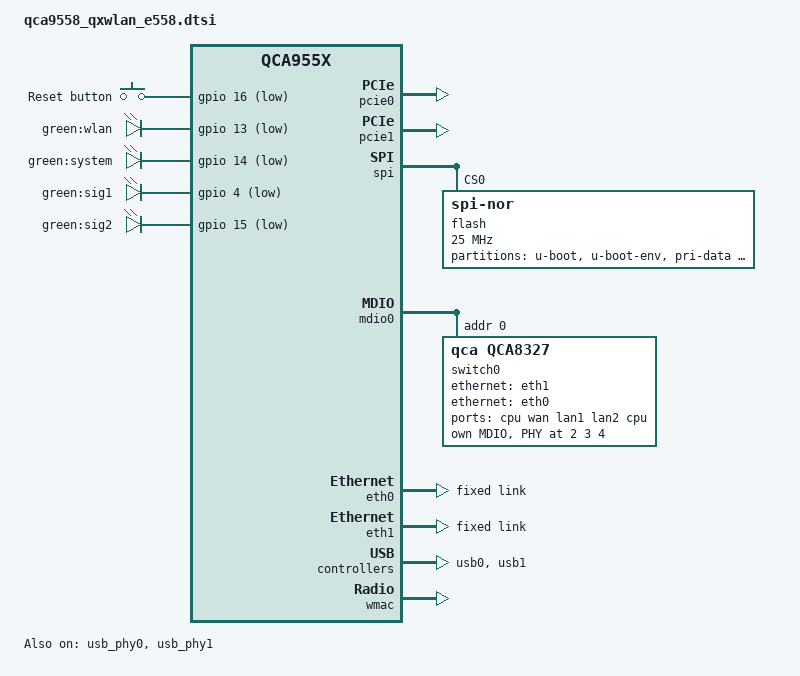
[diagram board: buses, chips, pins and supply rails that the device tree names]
// SPDX-License-Identifier: GPL-2.0-or-later OR MIT

#include "qca955x.dtsi"

#include <dt-bindings/gpio/gpio.h>
#include <dt-bindings/input/input.h>

/ {
	aliases {
		led-boot = &led_system;
		led-failsafe = &led_system;
		led-running = &led_system;
		led-upgrade = &led_system;
		label-mac-device = &eth0;
	};

	keys {
		compatible = "gpio-keys";

		reset {
			label = "Reset button";
			linux,code = <KEY_RESTART>;
			gpios = <&gpio 16 GPIO_ACTIVE_LOW>;
			debounce-interval = <60>;
		};
	};

	leds {
		compatible = "gpio-leds";

		wlan {
			label = "green:wlan";
			gpios = <&gpio 13 GPIO_ACTIVE_LOW>;
			linux,default-trigger = "phy0tpt";
		};

		led_system: system {
			label = "green:system";
			gpios = <&gpio 14 GPIO_ACTIVE_LOW>;
			default-state = "on";
		};

		sig1 {
			label = "green:sig1";
			gpios = <&gpio 4 GPIO_ACTIVE_LOW>;
		};

		sig2 {
			label = "green:sig2";
			gpios = <&gpio 15 GPIO_ACTIVE_LOW>;
		};
	};
};

&pcie0 {
	status = "okay";
};

&pcie1 {
	status = "okay";
};

&spi {
	status = "okay";

	flash@0 {
		compatible = "jedec,spi-nor";
		reg = <0>;
		spi-max-frequency = <25000000>;

		partitions: partitions {
			compatible = "fixed-partitions";
			#address-cells = <1>;
			#size-cells = <1>;

			partition@0 {
				label = "u-boot";
				reg = <0x000000 0x040000>;
				read-only;
			};

			partition@40000 {
				label = "u-boot-env";
				reg = <0x040000 0x010000>;
				read-only;
			};

			pridata: partition@50000 {
				label = "pri-data";
				reg = <0x050000 0x010000>;
				read-only;
			};

			art: partition@60000 {
				label = "art";
				reg = <0x060000 0x010000>;
				read-only;
			};
		};
	};
};

&mdio0 {
	status = "okay";

	switch0@10 {
		compatible = "qca,qca8327";
		#address-cells = <1>;
		#size-cells = <0>;

		reg = <0>;
		qca,ignore-power-on-sel;
		qca,led-open-drain;

		ports {
			#address-cells = <1>;
			#size-cells = <0>;

			port@0 {
				reg = <0>;
				label = "cpu";
				ethernet = <&eth1>;
				phy-mode = "sgmii";
				qca,sgmii-rxclk-falling-edge;

				fixed-link {
					speed = <1000>;
					full-duplex;
				};
			};

			port@3 {
				reg = <3>;
				label = "wan";
				phy-mode = "internal";
				phy-handle = <&phy_port3>;
			};

			port@4 {
				reg = <4>;
				label = "lan1";
				phy-mode = "internal";
				phy-handle = <&phy_port4>;
			};

			port@5 {
				reg = <5>;
				label = "lan2";
				phy-mode = "internal";
				phy-handle = <&phy_port5>;
			};

			port@6 {
				reg = <6>;
				label = "cpu";
				ethernet = <&eth0>;
				phy-mode = "rgmii-id";

				fixed-link {
					speed = <1000>;
					full-duplex;
				};
			};
		};

		mdio {
			#address-cells = <1>;
			#size-cells = <0>;

			phy_port3: phy@2 {
				reg = <2>;
			};

			phy_port4: phy@3 {
				reg = <3>;
			};

			phy_port5: phy@4 {
				reg = <4>;
			};
		};
	};
};

&eth0 {
	status = "okay";

	pll-data = <0x56000000 0x00000101 0x00001616>;

	nvmem-cells = <&macaddr_pridata_400>;
	nvmem-cell-names = "mac-address";
	mac-address-increment = <1>;

	fixed-link {
		speed = <1000>;
		full-duplex;
	};
};

&eth1 {
	status = "okay";

	pll-data = <0x03000101 0x00000101 0x00001616>;

	nvmem-cells = <&macaddr_pridata_400>;
	nvmem-cell-names = "mac-address";

	fixed-link {
		speed = <1000>;
		full-duplex;
	};
};

&usb_phy0 {
	status = "okay";
};

&usb0 {
	status = "okay";
};

&usb_phy1 {
	status = "okay";
};

&usb1 {
	status = "okay";
};

&wmac {
	status = "okay";

	mtd-cal-data = <&art 0x1000>;
};

&pridata {
	compatible = "nvmem-cells";
	#address-cells = <1>;
	#size-cells = <1>;

	macaddr_pridata_400: macaddr@400 {
		reg = <0x400 0x6>;
	};
};
